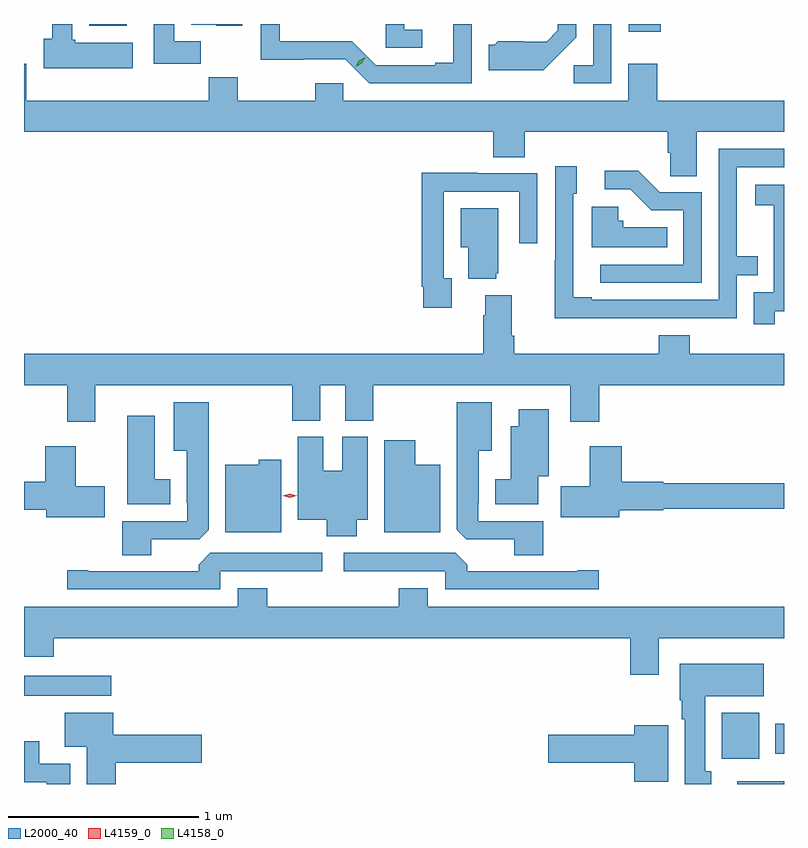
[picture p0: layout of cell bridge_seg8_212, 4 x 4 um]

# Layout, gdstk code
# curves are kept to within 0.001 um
import gdstk
lib = gdstk.Library(unit=1e-6, precision=1e-09)
def R(c, l, rs):  # rectangles x0, y0, x1, y1
    for r in rs: c.add(gdstk.rectangle(r[:2], r[2:], *l))
def P(c, l, *ps):  # polygons
    for p in ps: c.add(gdstk.Polygon(p, *l))
L2000_40 = (2000, 40)
L4158_0 = (4158, 0)
L4159_0 = (4159, 0)

bridge_seg8_212 = lib.new_cell('bridge_seg8_212')
R(bridge_seg8_212, L2000_40, [(160.337,1119.728,160.583,1119.742), (160.256,1119.86,160.453,1120.102), (160.538,1119.888,160.583,1120.044), (156.583,1120.193,157.042,1120.297), (159.767,1123.686,159.934,1123.728), (156.926,1123.718,157.123,1123.728)])
P(bridge_seg8_212, L2000_40, [(159.675,1123.728),(159.579,1123.728),(159.579,1123.512),(159.477,1123.512),(159.477,1123.416),(159.675,1123.416)],
  [(157.156,1123.63),(156.852,1123.63),(156.852,1123.644),(156.838,1123.644),(156.838,1123.728),(156.731,1123.728),(156.731,1123.65),(156.686,1123.65),(156.686,1123.496),(157.156,1123.496)],
  [(159.397,1123.565),(159.489,1123.658),(159.489,1123.728),(159.393,1123.728),(159.393,1123.695),(159.333,1123.635),(159.076,1123.636),(159.06,1123.62),(159.029,1123.62),(159.029,1123.484),(159.317,1123.484)],
  [(158.94,1123.728),(158.841,1123.728),(158.841,1123.525),(158.747,1123.525),(158.747,1123.512),(158.433,1123.512),(158.307,1123.638),(157.93,1123.638),(157.93,1123.728),(157.829,1123.728),(157.829,1123.541),(158.274,1123.542),(158.4,1123.416),(158.94,1123.416)],
  [(158.68,1123.699),(158.583,1123.699),(158.583,1123.728),(158.487,1123.728),(158.487,1123.602),(158.68,1123.602)],
  [(157.514,1123.636),(157.375,1123.636),(157.375,1123.728),(157.265,1123.728),(157.265,1123.518),(157.514,1123.518)],
  [(157.732,1123.728),(157.463,1123.728),(157.463,1123.724),(157.596,1123.724),(157.596,1123.718),(157.732,1123.718)],
  [(159.917,1123.519),(159.764,1123.519),(159.764,1123.324),(158.262,1123.324),(158.262,1123.417),(158.116,1123.417),(158.116,1123.324),(157.707,1123.324),(157.707,1123.448),(157.555,1123.448),(157.555,1123.324),(156.595,1123.324),(156.595,1123.519),(156.583,1123.519),(156.583,1123.16),(159.053,1123.16),(159.053,1123.027),(159.218,1123.027),(159.218,1123.16),(159.971,1123.16),(159.971,1123.051),(159.984,1123.051),(159.984,1122.928),(160.123,1122.928),(160.123,1123.16),(160.583,1123.16),(160.583,1123.324),(159.917,1123.324)],
  [(159.839,1122.18),(160.335,1122.18),(160.335,1122.405),(160.445,1122.405),(160.445,1122.506),(160.335,1122.506),(160.335,1122.975),(160.583,1122.975),(160.583,1123.071),(160.239,1123.071),(160.239,1122.276),(159.571,1122.276),(159.571,1122.289),(159.474,1122.289),(159.474,1122.834),(159.493,1122.834),(159.493,1122.979),(159.378,1122.979),(159.378,1122.485),(159.376,1122.485),(159.376,1122.179),(159.839,1122.179)],
  [(160.149,1122.843),(159.93,1122.843),(159.817,1122.956),(159.639,1122.956),(159.639,1122.858),(159.773,1122.858),(159.884,1122.747),(160.053,1122.747),(160.053,1122.462),(159.615,1122.462),(159.615,1122.366),(160.149,1122.366)],
  [(158.833,1122.39),(158.793,1122.39),(158.793,1122.846),(159.189,1122.846),(159.189,1122.573),(159.285,1122.573),(159.285,1122.942),(158.969,1122.942),(158.969,1122.944),(158.677,1122.944),(158.677,1122.346),(158.685,1122.346),(158.685,1122.234),(158.833,1122.234)],
  [(160.534,1122.217),(160.583,1122.217),(160.583,1122.883),(160.431,1122.883),(160.431,1122.773),(160.529,1122.773),(160.529,1122.545),(160.53,1122.545),(160.53,1122.315),(160.425,1122.315),(160.425,1122.147),(160.534,1122.147)],
  [(159.968,1122.658),(159.738,1122.658),(159.738,1122.693),(159.711,1122.693),(159.711,1122.766),(159.572,1122.766),(159.572,1122.554),(159.968,1122.554)],
  [(159.068,1122.417),(159.079,1122.417),(159.079,1122.757),(158.882,1122.757),(158.882,1122.554),(158.921,1122.554),(158.921,1122.386),(159.068,1122.386)],
  [(159.923,1122.091),(159.923,1121.992),(159.164,1121.992),(159.164,1122.088),(159.151,1122.088),(159.151,1122.301),(159.011,1122.301),(159.011,1122.194),(158.999,1122.194),(158.999,1121.992),(156.583,1121.992),(156.583,1121.828),(156.811,1121.828),(156.811,1121.634),(156.958,1121.634),(156.958,1121.828),(157.996,1121.828),(157.996,1121.641),(158.143,1121.641),(158.143,1121.828),(158.273,1121.828),(158.273,1121.641),(158.421,1121.641),(158.421,1121.828),(159.458,1121.828),(159.458,1121.634),(159.611,1121.634),(159.611,1121.828),(160.583,1121.828),(160.583,1121.992),(160.088,1121.992),(160.088,1122.091)],
  [(159.317,1121.112),(158.973,1121.112),(158.973,1121.209),(158.977,1121.209),(158.977,1121.483),(159.046,1121.483),(159.046,1121.737),(158.861,1121.737),(158.861,1121.065),(158.91,1121.016),(159.164,1121.016),(159.164,1120.933),(159.317,1120.933)],
  [(157.252,1121.016),(157.506,1121.016),(157.555,1121.065),(157.555,1121.737),(157.37,1121.737),(157.37,1121.483),(157.439,1121.483),(157.439,1121.209),(157.443,1121.209),(157.443,1121.112),(157.1,1121.112),(157.1,1120.933),(157.252,1120.933)],
  [(159.289,1121.348),(159.346,1121.348),(159.346,1121.701),(159.188,1121.701),(159.188,1121.611),(159.146,1121.611),(159.146,1121.332),(159.062,1121.332),(159.062,1121.201),(159.289,1121.201)],
  [(157.354,1121.332),(157.27,1121.332),(157.27,1121.665),(157.127,1121.665),(157.127,1121.201),(157.354,1121.201)],
  [(158.335,1121.12),(158.392,1121.12),(158.392,1121.556),(158.258,1121.556),(158.258,1121.377),(158.158,1121.377),(158.158,1121.556),(158.024,1121.556),(158.024,1121.12),(158.177,1121.12),(158.177,1121.033),(158.335,1121.033)],
  [(158.773,1121.407),(158.641,1121.407),(158.641,1121.536),(158.48,1121.536),(158.48,1121.054),(158.773,1121.054)],
  [(159.715,1121.168),(159.948,1121.168),(159.948,1121.176),(160.583,1121.176),(160.583,1121.312),(159.948,1121.312),(159.948,1121.32),(159.728,1121.32),(159.728,1121.506),(159.56,1121.506),(159.56,1121.295),(159.408,1121.295),(159.408,1121.132),(159.715,1121.132)],
  [(157.009,1121.295),(156.856,1121.295),(156.856,1121.506),(156.694,1121.506),(156.694,1121.318),(156.583,1121.318),(156.583,1121.171),(156.701,1121.171),(156.701,1121.132),(157.009,1121.132)],
  [(157.936,1121.434),(157.818,1121.434),(157.818,1121.407),(157.643,1121.407),(157.643,1121.054),(157.936,1121.054)],
  [(157.617,1120.848),(158.152,1120.848),(158.152,1120.944),(157.563,1120.944),(157.502,1120.882),(157.502,1120.848),(156.922,1120.848),(156.922,1120.853),(156.81,1120.853),(156.81,1120.752),(157.617,1120.752)],
  [(159.607,1120.853),(159.494,1120.853),(159.494,1120.848),(158.915,1120.848),(158.915,1120.882),(158.853,1120.944),(158.265,1120.944),(158.265,1120.848),(158.799,1120.848),(158.799,1120.752),(159.607,1120.752)],
  [(159.925,1120.496),(160.583,1120.496),(160.583,1120.66),(158.707,1120.66),(158.707,1120.759),(158.555,1120.759),(158.555,1120.66),(157.862,1120.66),(157.862,1120.759),(157.709,1120.759),(157.709,1120.66),(156.583,1120.66),(156.583,1120.397),(156.739,1120.397),(156.739,1120.496),(159.773,1120.496),(159.773,1120.302),(159.925,1120.302)],
  [(160.201,1119.794),(160.168,1119.794),(160.168,1120.19),(160.477,1120.19),(160.477,1120.36),(160.034,1120.36),(160.034,1120.17),(160.046,1120.17),(160.046,1120.07),(160.061,1120.07),(160.061,1119.728),(160.201,1119.728)],
  [(157.067,1119.839),(157.519,1119.839),(157.519,1119.986),(157.054,1119.986),(157.054,1120.102),(156.797,1120.102),(156.797,1119.923),(156.914,1119.923),(156.914,1119.728),(157.067,1119.728)],
  [(159.973,1120.036),(159.794,1120.036),(159.794,1119.986),(159.342,1119.986),(159.342,1119.839),(159.794,1119.839),(159.794,1119.74),(159.973,1119.74)],
  [(156.826,1119.834),(156.664,1119.834),(156.664,1119.952),(156.583,1119.952),(156.583,1119.738),(156.704,1119.738),(156.704,1119.728),(156.826,1119.728)])
P(bridge_seg8_212, L4158_0, [(158.328,1123.502),(158.328,1123.502),(158.346,1123.534),(158.378,1123.553),(158.378,1123.553),(158.378,1123.553),(158.361,1123.521),(158.329,1123.502)])
P(bridge_seg8_212, L4159_0, [(157.981,1121.235),(157.944,1121.245),(157.943,1121.245),(157.944,1121.245),(157.981,1121.255),(158.018,1121.245),(158.018,1121.245),(158.018,1121.245)])

lib.write_gds('bridge_seg8_212.gds')
